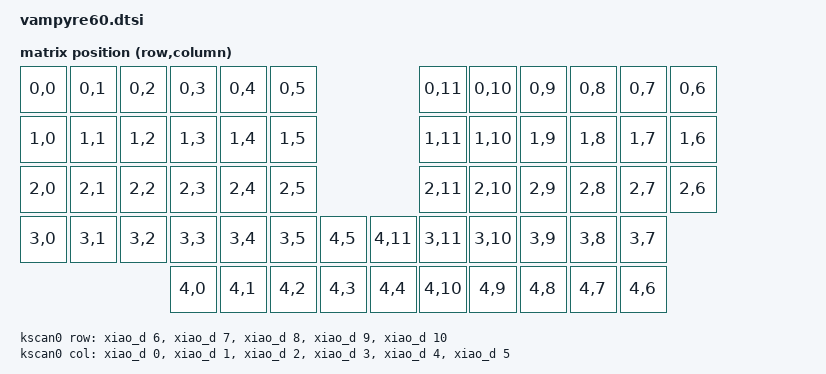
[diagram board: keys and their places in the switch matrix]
#include <dt-bindings/zmk/matrix_transform.h>

/ {
    // Defines controller GPIO pins for scanning.
    kscan0: kscan0 {
	compatible = "zmk,kscan-gpio-matrix";
	diode-direction = "col2row";
	wakeup-source;

	row-gpios
	    = <&xiao_d 6 (GPIO_ACTIVE_HIGH | GPIO_PULL_DOWN)>
	    , <&xiao_d 7 (GPIO_ACTIVE_HIGH | GPIO_PULL_DOWN)>
	    , <&xiao_d 8 (GPIO_ACTIVE_HIGH | GPIO_PULL_DOWN)>
	    , <&xiao_d 9 (GPIO_ACTIVE_HIGH | GPIO_PULL_DOWN)>
	    , <&xiao_d 10 (GPIO_ACTIVE_HIGH | GPIO_PULL_DOWN)>
	    ;
	col-gpios
	    = <&xiao_d 0 (GPIO_ACTIVE_HIGH | GPIO_PULL_DOWN)>
	    , <&xiao_d 1 (GPIO_ACTIVE_HIGH | GPIO_PULL_DOWN)>
	    , <&xiao_d 2 (GPIO_ACTIVE_HIGH | GPIO_PULL_DOWN)>
	    , <&xiao_d 3 (GPIO_ACTIVE_HIGH | GPIO_PULL_DOWN)>
	    , <&xiao_d 4 (GPIO_ACTIVE_HIGH | GPIO_PULL_DOWN)>
	    , <&xiao_d 5 (GPIO_ACTIVE_HIGH | GPIO_PULL_DOWN)>
	    ;
    };

    // Matrix transform for "key position" events. Vampyre60 is 5 rows and 6 columns.
    default_transform: keymap_transform0 {
	compatible = "zmk,matrix-transform";
	columns = <6>;
	rows = <5>;
    // | SW5  | SW6  | SW2  | SW1  | SW3  | SW4  |                                  | SW4  | SW3  | SW1  | SW2  | SW6  | SW5  |
    // | SW11 | SW12 | SW8  | SW7  | SW9  | SW10 |                                  | SW10 | SW9  | SW7  | SW8  | SW12 | SW11 |
    // | SW17 | SW18 | SW14 | SW13 | SW15 | SW16 |                                  | SW16 | SW15 | SW13 | SW14 | SW18 | SW17 |
    // | SW24 | SW25 | SW21 | SW20 | SW22 | SW23 | SW19 |                    | SW19 | SW23 | SW22 | SW20 | SW21 | SW25 | SW24 |
    //                      | SW26 | SW27 | SW29 | SW28 | | SW30 |  | SW30 | | SW28 | SW29 | SW27 | SW26 |
        map = <
    RC(0,0) RC(0,1) RC(0,2) RC(0,3) RC(0,4) RC(0,5)                                  RC(0,11) RC(0,10) RC(0,9) RC(0,8) RC(0,7) RC(0,6)
    RC(1,0) RC(1,1) RC(1,2) RC(1,3) RC(1,4) RC(1,5)                                  RC(1,11) RC(1,10) RC(1,9) RC(1,8) RC(1,7) RC(1,6)
    RC(2,0) RC(2,1) RC(2,2) RC(2,3) RC(2,4) RC(2,5)                                  RC(2,11) RC(2,10) RC(2,9) RC(2,8) RC(2,7) RC(2,6)
    RC(3,0) RC(3,1) RC(3,2) RC(3,3) RC(3,4) RC(3,5) RC(4,5)                   RC(4,11) RC(3,11) RC(3,10) RC(3,9) RC(3,8) RC(3,7)
                            RC(4,0) RC(4,1) RC(4,2) RC(4,3) RC(4,4)  RC(4,10) RC(4,9) RC(4,8) RC(4,7) RC(4,6)
        >;
    };

    physical_layout0: physical_layout_0 { // First physical layout, use different naming for other layouts
	compatible = "zmk,physical-layout";
	display-name = "Default Layout";
	kscan = <&kscan0>; // Label of the kscan node, optional if all layouts use the same
	transform = <&default_transform>; // Label of the matrix transform for this layout
    };

    chosen {
	// zmk,kscan = &kscan0; // If all physical layouts use the same kscan node under the hood
	zmk,physical-layout = &physical_layout0;
	// Other chosen items
    };
};
